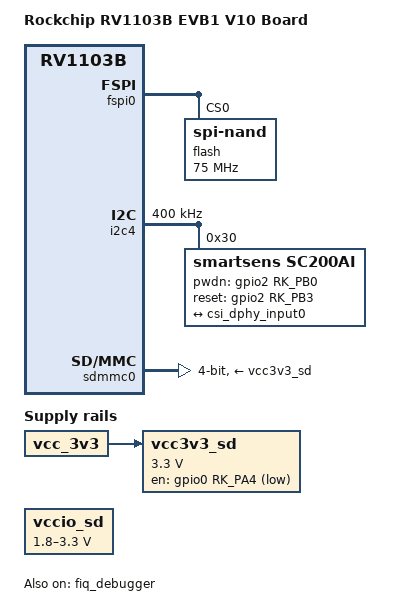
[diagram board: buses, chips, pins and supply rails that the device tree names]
// SPDX-License-Identifier: (GPL-2.0+ OR MIT)
/*
 * Copyright (c) 2026 Rockchip Electronics Co., Ltd.
 */

/dts-v1/;

#include "rv1103b.dtsi"
#include "rv1103b-evb.dtsi"
#include "rv1106b-thunder-boot-cam.dtsi"
#include "rv1106b-thunder-boot-spi-nand.dtsi"

/ {
	model = "Rockchip RV1103B EVB1 V10 Board";
	compatible = "rockchip,rv1103b-evb1-v10-thunderboot-spi-nand", "rockchip,rv1103b";

	chosen {
		bootargs = "loglevel=0 earlycon=uart8250,mmio32,0x20540000 console=ttyFIQ0 root=/dev/rd0 rootfstype=erofs rootflags=dax snd_soc_core.prealloc_buffer_size_kbytes=16 coherent_pool=32K";
	};

	vcc3v3_sd: vcc3v3-sd {
		compatible = "regulator-fixed";
		gpio = <&gpio0 RK_PA4 GPIO_ACTIVE_LOW>;
		regulator-name = "vcc3v3_sd";
		regulator-min-microvolt = <3300000>;
		regulator-max-microvolt = <3300000>;
		pinctrl-names = "default";
		pinctrl-0 = <&sdmmc_pwren>;
		vin-supply = <&vcc_3v3>;
	};

	vccio_sd: vccio-sd {
		compatible = "regulator-gpio";
		regulator-name = "vccio_sd";
		regulator-min-microvolt = <1800000>;
		regulator-max-microvolt = <3300000>;
		gpios = <&gpio0 RK_PA3 GPIO_ACTIVE_HIGH>;
		states = <3300000 1
			  1800000 0>;
		pinctrl-names = "default";
		pinctrl-0 = <&sdmmc_volt>;
	};

};

&fiq_debugger {
	rockchip,irq-mode-enable = <1>;
	rockchip,baudrate = <1500000>;
	status = "okay";
};


&fspi0 {
	status = "okay";

	flash@0 {
		compatible = "spi-nand";
		reg = <0>;
		spi-max-frequency = <75000000>;
		spi-rx-bus-width = <4>;
		spi-tx-bus-width = <1>;
	};
};

&i2c4 {
	clock-frequency = <400000>;
	pinctrl-names = "default";
	pinctrl-0 = <&i2c4m1_xfer_pins>;
	rockchip,amp-shared;
	status = "okay";

	sc200ai: sc200ai@30 {
		compatible = "smartsens,sc200ai";
		reg = <0x30>;
		clocks = <&cru CLK_MIPI0_OUT2IO>;
		clock-names = "xvclk";
		pwdn-gpios = <&gpio2 RK_PB0 GPIO_ACTIVE_HIGH>;
		reset-gpios = <&gpio2 RK_PB3 GPIO_ACTIVE_HIGH>;
		pinctrl-names = "default";
		pinctrl-0 = <&cam_clk0_pins>;
		rockchip,camera-module-index = <0>;
		rockchip,camera-module-facing = "back";
		rockchip,camera-module-name = "default";
		rockchip,camera-module-lens-name = "default";

		port {
			cam0_out: endpoint {
				remote-endpoint = <&csi_dphy_input0>;
				data-lanes = <1 2>;
			};
		};
	};
};

&rkisp_thunderboot {
	/* reg's offset MUST match with RTOS */
	/*
	 * vicap, capture raw10, ceil(w*10/8/256)*256*h *4(buf num)
	 * e.g. 1920x1080: 0xa8c000
	 */
	reg = <0x00860000 0xa8c000>;
};

&ramdisk_r {
	reg = <0x012ec000 (10 * 0x00100000)>;
};

&ramdisk_c {
	reg = <0x1cec000 (5 * 0x00100000)>;
};

&sdmmc0 {
	no-sdio;
	no-mmc;
	bus-width = <4>;
	cap-mmc-highspeed;
	cap-sd-highspeed;
	disable-wp;
	sd-uhs-sdr104;
	vmmc-supply = <&vcc3v3_sd>;
	vqmmc-supply = <&vccio_sd>;
	status = "okay";
};

&pinctrl {
	sdmmc {
		/omit-if-no-ref/
		sdmmc_pwren: sdmmc-pwren {
			rockchip,pins = <0 RK_PA4 RK_FUNC_GPIO &pcfg_pull_none>;
		};

		/omit-if-no-ref/
		sdmmc_volt: sdmmc-volt {
			rockchip,pins = <0 RK_PA3 RK_FUNC_GPIO &pcfg_pull_none>;
		};
	};
};

